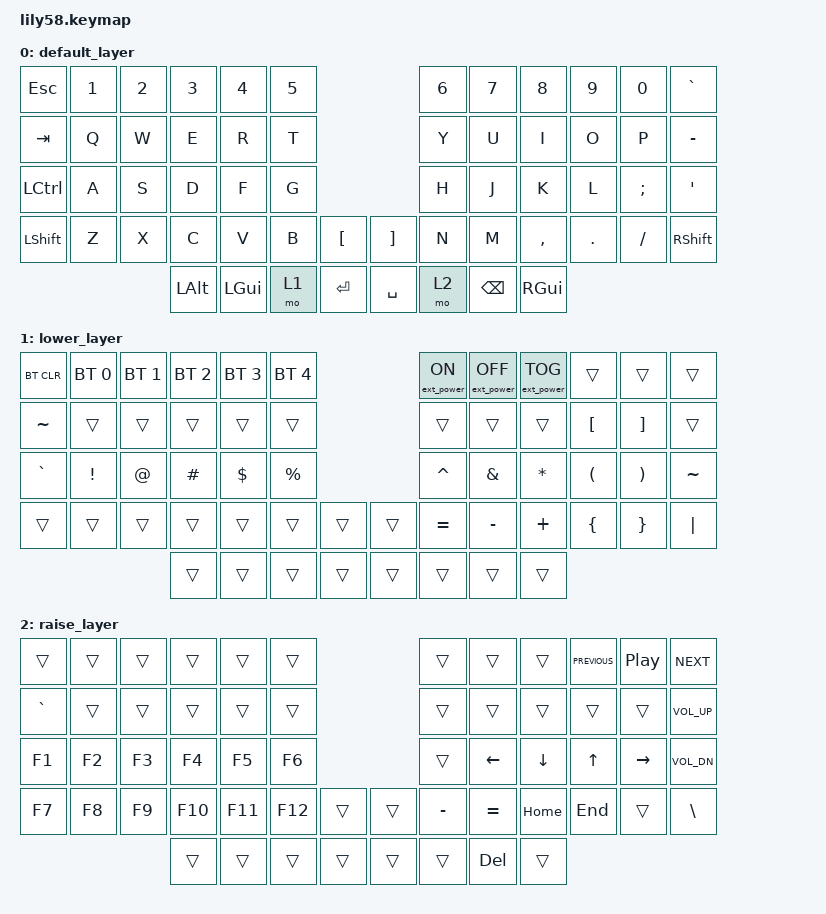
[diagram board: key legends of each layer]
/*
 * Copyright (c) 2020 The ZMK Contributors
 *
 * SPDX-License-Identifier: MIT
 */

#include <behaviors.dtsi>
#include <dt-bindings/zmk/bt.h>
#include <dt-bindings/zmk/ext_power.h>
#include <dt-bindings/zmk/keys.h>

/ {
    macros {
        new_macro: new_macro {
            compatible = "zmk,behavior-macro";
            #binding-cells = <0>;
            bindings = <&none>;
            label = "NEW_MACRO";
        };
    };

    keymap {
        compatible = "zmk,keymap";

        default_layer {
            // ------------------------------------------------------------------------------------------------------------
            // |  ESC  |  1  |  2  |  3   |  4   |  5   |                   |  6   |  7    |  8    |  9   |   0   |   `   |
            // |  TAB  |  Q  |  W  |  E   |  R   |  T   |                   |  Y   |  U    |  I    |  O   |   P   |   -   |
            // |  CTRL |  A  |  S  |  D   |  F   |  G   |                   |  H   |  J    |  K    |  L   |   ;   |   '   |
            // | SHIFT |  Z  |  X  |  C   |  V   |  B   |   "["  |  |  "]"  |  N   |  M    |  ,    |  .   |   /   | SHIFT |
            //                     | ALT  | GUI  | LOWER|  SPACE |  | ENTER | RAISE| BSPC  | GUI   |

            bindings = <
&kp ESC    &kp N1  &kp N2  &kp N3    &kp N4    &kp N5                          &kp N6  &kp N7    &kp N8     &kp N9   &kp N0    &kp GRAVE
&kp TAB    &kp Q   &kp W   &kp E     &kp R     &kp T                           &kp Y   &kp U     &kp I      &kp O    &kp P     &kp MINUS
&kp LCTRL  &kp A   &kp S   &kp D     &kp F     &kp G                           &kp H   &kp J     &kp K      &kp L    &kp SEMI  &kp SQT
&kp LSHFT  &kp Z   &kp X   &kp C     &kp V     &kp B   &kp LBKT     &kp RBKT   &kp N   &kp M     &kp COMMA  &kp DOT  &kp FSLH  &kp RSHFT
                           &kp LALT  &kp LGUI  &mo 1   &kp ENTER    &kp SPACE  &mo 2   &kp BSPC  &kp RGUI
            >;
        };

        lower_layer {
            // ------------------------------------------------------------------------------------------------------------
            // | BTCLR | BT1 | BT2 |  BT3 |  BT4 |  BT5 |                   |      |       |       |      |       |       |
            // |  F1   |  F2 |  F3 |  F4  |  F5  |  F6  |                   |  F7  |  F8   |  F9   |  F10 |  F11  |  F12  |
            // |   `   |  !  |  @  |  #   |  $   |  %   |                   |  ^   |  &    |  *    |  (   |   )   |   ~   |
            // |       |     |     |      |      |      |        |  |       |      |  _    |  +    |  {   |   }   |  "|"  |
            //                     |      |      |      |        |  |       |      |       |       |

            bindings = <
&bt BT_CLR  &bt BT_SEL 0  &bt BT_SEL 1  &bt BT_SEL 2  &bt BT_SEL 3  &bt BT_SEL 4                    &ext_power EP_ON  &ext_power EP_OFF  &ext_power EP_TOG  &trans            &trans             &trans
&kp TILDE   &trans        &trans        &trans        &trans        &trans                          &trans            &trans             &trans             &kp LEFT_BRACKET  &kp RIGHT_BRACKET  &trans
&kp GRAVE   &kp EXCL      &kp AT        &kp HASH      &kp DOLLAR    &kp PRCNT                       &kp CARET         &kp AMPS           &kp ASTRK          &kp LPAR          &kp RPAR           &kp TILDE
&trans      &trans        &trans        &trans        &trans        &trans        &trans    &trans  &kp EQUAL         &kp MINUS          &kp PLUS           &kp LBRC          &kp RBRC           &kp PIPE
                                        &trans        &trans        &trans        &trans    &trans  &trans            &trans             &trans
            >;
        };

        raise_layer {
            // ------------------------------------------------------------------------------------------------------------
            // |       |     |     |      |      |      |                   |      |       |       |      |       |       |
            // |   `   |  1  |  2  |  3   |  4   |  5   |                   |  6   |   7   |   8   |  9   |   0   |       |
            // |   F1  |  F2 |  F3 |  F4  |  F5  |  F6  |                   |      |   <-  |   v   |  ^   |  ->   |       |
            // |   F7  |  F8 |  F9 |  F10 |  F11 |  F12 |        |  |       |  +   |   -   |   =   |  [   |   ]   |   \   |
            //                     |      |      |      |        |  |       |      |       |       |

            bindings = <
&trans     &trans  &trans  &trans   &trans   &trans                     &trans     &trans     &trans    &kp C_PREVIOUS  &kp C_PLAY_PAUSE  &kp C_NEXT
&kp GRAVE  &trans  &trans  &trans   &trans   &trans                     &trans     &trans     &trans    &trans          &trans            &kp C_VOL_UP
&kp F1     &kp F2  &kp F3  &kp F4   &kp F5   &kp F6                     &trans     &kp LEFT   &kp DOWN  &kp UP          &kp RIGHT         &kp C_VOL_DN
&kp F7     &kp F8  &kp F9  &kp F10  &kp F11  &kp F12  &trans    &trans  &kp MINUS  &kp EQUAL  &kp HOME  &kp END         &trans            &kp BSLH
                           &trans   &trans   &trans   &trans    &trans  &trans     &kp DEL    &trans
            >;
        };
    };
};
